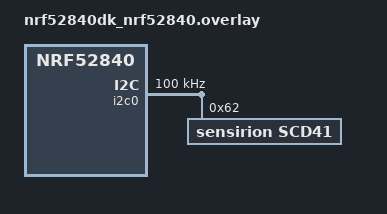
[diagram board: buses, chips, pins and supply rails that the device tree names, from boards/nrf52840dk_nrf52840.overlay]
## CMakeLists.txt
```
cmake_minimum_required(VERSION 3.20.0)
find_package(Zephyr REQUIRED HINTS $ENV{ZEPHYR_BASE})

project(scd41_sample)

target_sources(app PRIVATE src/main.c)
```

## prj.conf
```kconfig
CONFIG_I2C=y
CONFIG_SENSOR=y
CONFIG_PWM=y
CONFIG_LOG=y
CONFIG_SCD4X=y
CONFIG_CRC=y
```

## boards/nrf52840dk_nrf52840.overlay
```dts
&i2c0 {
    status = "okay";
	clock-frequency = <I2C_BITRATE_STANDARD>;

    scd41@62 {
        compatible = "sensirion,scd41";
        reg = <0x62>;
        label = "SCD41";
        mode =<0>; // or "low_power", "single_shot"
    };
};
```

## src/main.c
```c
#include <zephyr/kernel.h>
#include <zephyr/sys/printk.h>
#include <zephyr/device.h>
#include <zephyr/logging/log.h>
#include <zephyr/drivers/sensor.h>

#include "sensor/scd4x/scd4x.h"


#if !DT_HAS_COMPAT_STATUS_OKAY(sensirion_scd41)
#error "No sensirion,scd4x compatible node found in the device tree"
#endif


const struct device *scd41 = DEVICE_DT_GET_ANY(sensirion_scd41);

int main (void){
       
        if (!device_is_ready(scd41)) {
                printk("SCD41 device is not ready\n");
                return 1;
        }
        struct sensor_value co2, temo, humi;
        while(true){

                sensor_sample_fetch(scd41);
                sensor_channel_get(scd41, SENSOR_CHAN_CO2, &co2);
                sensor_channel_get(scd41, SENSOR_CHAN_AMBIENT_TEMP, &temo);
                sensor_channel_get(scd41, SENSOR_CHAN_HUMIDITY, &humi);
                printk("CO2: %d.%06d ppm, Temperature: %d.%06d C, Humidity: %d.%06d %%\n",
                       co2.val1, co2.val2, temo.val1, temo.val2, humi.val1, humi.val2);
                k_sleep(K_SECONDS(10));
        }
        return 0;
}
```
